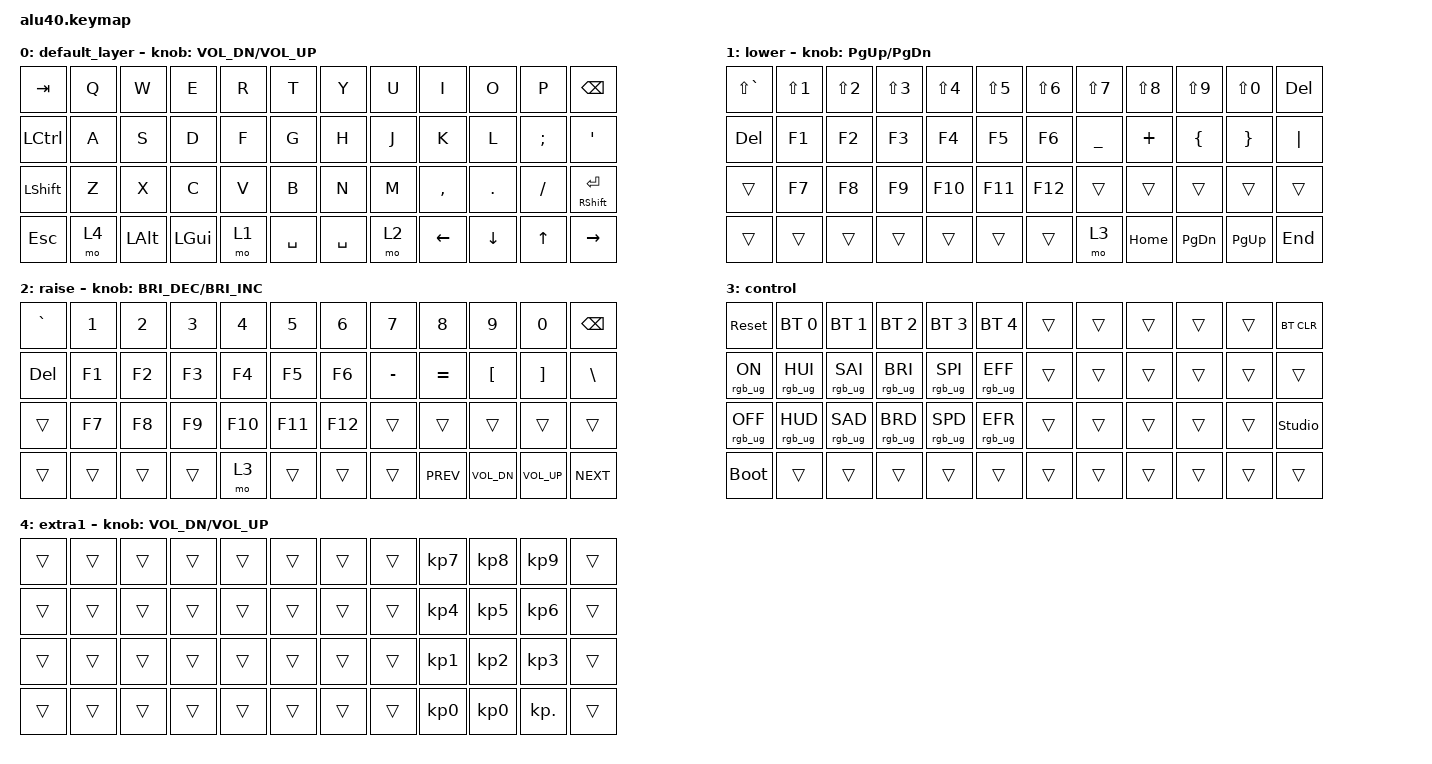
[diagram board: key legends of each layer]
/*
 * Copyright (c) 2022 The ZMK Contributors
 *
 * SPDX-License-Identifier: MIT
 */

#include <behaviors.dtsi>
#include <dt-bindings/zmk/bt.h>
#include <dt-bindings/zmk/keys.h>
#include <dt-bindings/zmk/rgb.h>

/ {
    keymap {
        compatible = "zmk,keymap";

        default_layer {
            // -----------------------------------------------------------------------------------------
            // | ESC/~ |  Q   |  W   |  E   |  R   |  T   |   Y   |  U    |  I   |  O   |   P   | BSPC  |
            // | TAB   |  A   |  S   |  D   |  F   |  G   |   H   |  J    |  K   |  L   |   ;   |  '    |
            // | SHIFT |  Z   |  X   |  C   |  V   |  B   |   N   |  M    |  ,   |  .   |   /   |RET/SFT|
            // | PLAY  | LCTL | LALT | LGUI | LOWR |     SPACE    |  RAIS | LARW | UARW | DARW  |  RARW |

            bindings = <
&kp TAB    &kp Q  &kp W     &kp E     &kp R  &kp T      &kp Y      &kp U  &kp I      &kp O     &kp P     &kp BSPC
&kp LCTRL  &kp A  &kp S     &kp D     &kp F  &kp G      &kp H      &kp J  &kp K      &kp L     &kp SEMI  &kp SQT
&kp LSHFT  &kp Z  &kp X     &kp C     &kp V  &kp B      &kp N      &kp M  &kp COMMA  &kp DOT   &kp FSLH  &mt RSHFT RET
&kp ESC    &mo 4  &kp LALT  &kp LGUI  &mo 1  &kp SPACE  &kp SPACE  &mo 2  &kp LEFT   &kp DOWN  &kp UP    &kp RIGHT
            >;

            sensor-bindings = <&inc_dec_kp C_VOL_DN C_VOL_UP>;
        };

        lower {
            bindings = <
&kp LS(GRAVE)  &kp LS(N1)  &kp LS(N2)  &kp LS(N3)  &kp LS(N4)  &kp LS(N5)  &kp LS(N6)  &kp LS(N7)  &kp LS(N8)  &kp LS(N9)     &kp LS(N0)   &kp DEL
&kp DEL        &kp F1      &kp F2      &kp F3      &kp F4      &kp F5      &kp F6      &kp UNDER   &kp PLUS    &kp LBRC       &kp RBRC     &kp PIPE
&trans         &kp F7      &kp F8      &kp F9      &kp F10     &kp F11     &kp F12     &trans      &trans      &trans         &trans       &trans
&trans         &trans      &trans      &trans      &trans      &trans      &trans      &mo 3       &kp HOME    &kp PAGE_DOWN  &kp PAGE_UP  &kp END
            >;

            sensor-bindings = <&inc_dec_kp PG_UP PG_DN>;
        };

        raise {
            bindings = <
&kp GRAVE  &kp N1  &kp N2  &kp N3  &kp N4   &kp N5   &kp N6   &kp N7     &kp N8      &kp N9        &kp N0        &kp BSPC
&kp DEL    &kp F1  &kp F2  &kp F3  &kp F4   &kp F5   &kp F6   &kp MINUS  &kp EQUAL   &kp LBKT      &kp RBKT      &kp BSLH
&trans     &kp F7  &kp F8  &kp F9  &kp F10  &kp F11  &kp F12  &trans     &trans      &trans        &trans        &trans
&trans     &trans  &trans  &trans  &mo 3    &trans   &trans   &trans     &kp C_PREV  &kp C_VOL_DN  &kp C_VOL_UP  &kp C_NEXT
            >;

            sensor-bindings = <&inc_dec_kp C_BRI_DEC C_BRI_INC>;
        };

        control {
            bindings = <
&sys_reset       &bt BT_SEL 0  &bt BT_SEL 1  &bt BT_SEL 2  &bt BT_SEL 3  &bt BT_SEL 4  &trans  &trans  &trans  &trans  &trans  &bt BT_CLR
&rgb_ug RGB_ON   &rgb_ug RGB_HUI  &rgb_ug RGB_SAI  &rgb_ug RGB_BRI  &rgb_ug RGB_SPI  &rgb_ug RGB_EFF   &trans  &trans  &trans  &trans  &trans  &trans
&rgb_ug RGB_OFF  &rgb_ug RGB_HUD  &rgb_ug RGB_SAD  &rgb_ug RGB_BRD  &rgb_ug RGB_SPD  &rgb_ug RGB_EFR   &trans  &trans  &trans  &trans  &trans  &studio_unlock
&bootloader      &trans        &trans        &trans        &trans        &trans        &trans  &trans  &trans  &trans  &trans  &trans
            >;
        };

        extra1 {
            bindings = <
&trans  &trans  &trans  &trans  &trans  &trans  &trans  &trans  &kp KP_N7        &kp KP_N8  &kp KP_NUMBER_9  &trans
&trans  &trans  &trans  &trans  &trans  &trans  &trans  &trans  &kp KP_N4        &kp KP_N5  &kp KP_N6        &trans
&trans  &trans  &trans  &trans  &trans  &trans  &trans  &trans  &kp KP_NUMBER_1  &kp KP_N2  &kp KP_N3        &trans
&trans  &trans  &trans  &trans  &trans  &trans  &trans  &trans  &kp KP_N0        &kp KP_N0  &kp KP_DOT       &trans
            >;

            sensor-bindings = <&inc_dec_kp C_VOL_DN C_VOL_UP>;
        };

        extra2 { status = "reserved"; };

        extra3 { status = "reserved"; };

        extra4 { status = "reserved"; };
    };
};
